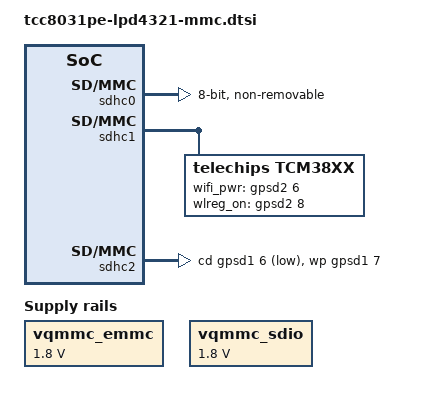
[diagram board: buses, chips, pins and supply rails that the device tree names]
// SPDX-License-Identifier: (GPL-2.0-or-later OR MIT)
/*
 * Copyright (C) 2023 Telechips Inc.
 */

#include <dt-bindings/gpio/gpio.h>

/* eMMC */
&sdhc0 {
	status = "okay";
	bus-width = <8>;
	max-frequency = <153600000>;
	clock-frequency = <1536000000>;
	pinctrl-names = "default", "sleep";
	pinctrl-0 = <&sd0_clk &sd0_cmd &sd0_bus8 &sd0_strb>;
	pinctrl-1 = <&sd0_clk &sd0_cmd &sd0_bus8 &sd0_strb>;

	no-sdio;
	no-sd;
	non-removable;
	keep-power-in-suspend;
	disable-wp;
	cap-mmc-hw-reset;
	mmc-ddr-1_8v;
	mmc-hs200-1_8v;
	mmc-hs400-1_8v;
	mmc-hs400-enhanced-strobe;

	tcc-mmc-taps = <15 15 15 15>;
	tcc-mmc-hs400-pos-tap = <4>;
	tcc-mmc-hs400-neg-tap = <9>;

	tcc-mmc-reset = <&gpsd0 14 0>;

	vqmmc-supply = <&vqmmc_emmc>;
};

&vqmmc_emmc {
	compatible = "regulator-fixed";
	regulator-name = "vqmmc_emmc";
	regulator-min-microvolt = <1800000>;
	regulator-max-microvolt = <1800000>;
	regulator-always-on;
};

/* SDIO */
&sdhc1 {
	status = "okay";
	pinctrl-names = "default", "sleep";
	pinctrl-0 = <&sd1_clk &sd1_cmd &sd1_bus4 &out0_clk>;
	pinctrl-1 = <&sd1_clk &sd1_cmd &sd1_bus4 &out0_clk>;

	keep-power-in-suspend;
	cap-sdio-irq;

	tcc-mmc-taps = <15 15 15 15>;

	vqmmc-supply = <&vqmmc_sdio>;

	cd-force-presence-change;

	tcm38xx {
		compatible = "telechips,tcm38xx";
		wifi_pwr-gpio = <&gpsd2 6 0>; /* BT_WIFI_VBAT_EN */
		wlreg_on-gpio = <&gpsd2 8 0>; /* WIFI_REG_ON */
		//wifi_pwr_1p8v-gpio = <&gpsd1 6 0>;
		//wifi_pwr_3p3v-gpio = <&gpsd1 7 0>;
	};
};

&vqmmc_sdio {
	compatible = "regulator-fixed";
	regulator-name = "vqmmc_sdio";
	regulator-min-microvolt = <1800000>;
	regulator-max-microvolt = <1800000>;
	regulator-always-on;
};

/* SD Slot */
&sdhc2 {
	/*
	 * In order to reduce boot time,
	 * we use the driver as module not built-in.
	 */
	compatible = "telechips,tcc803x-sdhci,module-only";
	status = "okay";
	pinctrl-names = "default", "sleep";
	pinctrl-0 = <&sd2_clk &sd2_cmd &sd2_bus4 &sd1_bus4_wp_cd &sd1_pwr>;
	pinctrl-1 = <&sd2_clk &sd2_cmd &sd2_bus4 &sd1_bus4_wp_cd &sd1_pwr>;

	broken-cd;
	cd-inverted;
	keep-power-in-suspend;

	tcc-mmc-taps = <15 15 15 15>;

	wp-gpios = <&gpsd1 7 0>;
	cd-gpios = <&gpsd1 6 0>;

	vqmmc-supply = <&DA9062_LDO4>;
	mmc-pwrseq = <&sdhc2_pwrseq>;
};

&sdhc2_pwrseq {
	compatible = "mmc-pwrseq-simple";
	reset-gpios = <&gpsd1 8 GPIO_ACTIVE_LOW>;
};

/* GPIO */
&pinctrl {
	sd0_clk: sd0_clk {
		telechips,pins = "gpsd0-0";
		telechips,pin-function = <1>;
		telechips,drive-strength = <3>;
		telechips,input_buffer_enable;
		telechips,no-pull;
	};

	sd0_cmd: sd0_cmd {
		telechips,pins = "gpsd0-1";
		telechips,pin-function = <1>;
		telechips,drive-strength = <3>;
		telechips,input_buffer_enable;
		telechips,no-pull;
	};

	sd0_bus8: sd0_bus8 {
		telechips,pins = "gpsd0-2", "gpsd0-3", "gpsd0-4", "gpsd0-5",
		                 "gpsd0-6", "gpsd0-7", "gpsd0-8", "gpsd0-9";
		telechips,pin-function = <1>;
		telechips,drive-strength = <3>;
		telechips,input_buffer_enable;
		telechips,no-pull;
	};

	sd0_strb: sd0_strb {
		telechips,pins = "gpsd0-10";
		telechips,pin-function = <1>;
		telechips,drive-strength = <3>;
		telechips,pull-down;
		telechips,input_buffer_enable;
	};

	sd1_clk: sd1_clk {
		telechips,pins = "gpsd1-0";
		telechips,pin-function = <1>;
		telechips,drive-strength = <3>;
		telechips,input_buffer_enable;
		telechips,no-pull;
	};

	sd1_cmd: sd1_cmd {
		telechips,pins = "gpsd1-1";
		telechips,pin-function = <1>;
		telechips,drive-strength = <3>;
		telechips,input_buffer_enable;
		telechips,no-pull;
	};

	sd1_bus4: sd1_bus4 {
		telechips,pins = "gpsd1-2", "gpsd1-3", "gpsd1-4", "gpsd1-5";
		telechips,pin-function = <1>;
		telechips,drive-strength = <3>;
		telechips,input_buffer_enable;
		telechips,no-pull;
	};

	out0_clk: out0_clk {
		telechips,pins = "gpsd2-7";
		telechips,pin-function = <11>;
		telechips,drive-strength = <3>;
	}; // ext32.768 clock

	sd2_clk: sd2_clk {
		telechips,pins = "gpsd2-0";
		telechips,pin-function = <1>;
		telechips,drive-strength = <3>;
		telechips,input_buffer_enable;
		telechips,no-pull;
	};

	sd2_cmd: sd2_cmd {
		telechips,pins = "gpsd2-1";
		telechips,pin-function = <1>;
		telechips,drive-strength = <3>;
		telechips,input_buffer_enable;
		telechips,no-pull;
	};

	sd2_bus4: sd2_bus4 {
		telechips,pins = "gpsd2-2", "gpsd2-3", "gpsd2-4", "gpsd2-5";
		telechips,pin-function = <1>;
		telechips,drive-strength = <3>;
		telechips,input_buffer_enable;
		telechips,no-pull;
	};

	sd1_bus4_wp_cd: sd1_bus4_wp_cd {
		telechips,pins = "gpsd1-6", "gpsd1-7";
		telechips,pin-function = <0>;
		telechips,pull-up;
		telechips,input-enable;
		telechips,input_buffer_enable;
	};

	sd1_pwr: sd1_pwr {
		telechips,pins = "gpsd1-8";
		telechips,pin-function = <0>;
		telechips,output-low;
	};
};
